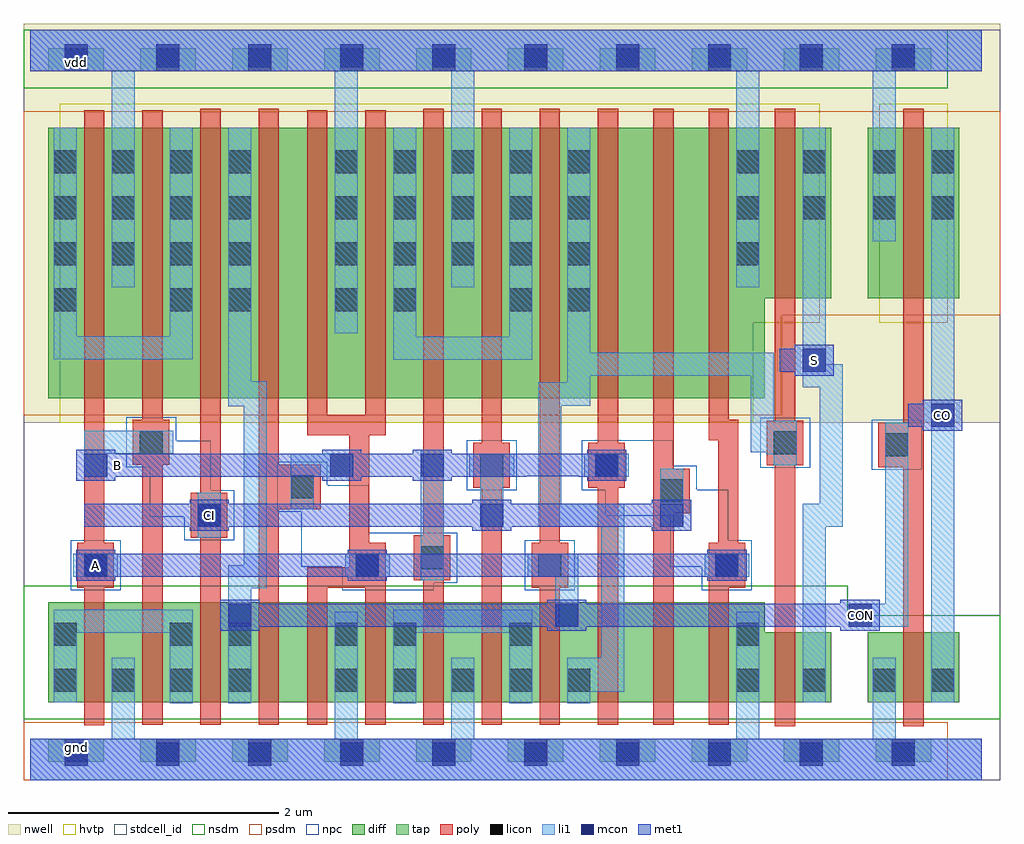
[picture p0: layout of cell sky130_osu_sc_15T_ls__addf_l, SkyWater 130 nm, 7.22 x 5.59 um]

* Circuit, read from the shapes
.subckt sky130_osu_sc_15T_ls__addf_l A B CI CO CON S gnd vdd
XM1 gnd A n1 gnd sky130_fd_pr__nfet_01v8 w=0.74 l=0.15
XM2 n1 B gnd gnd sky130_fd_pr__nfet_01v8 w=0.74 l=0.15
XM3 CON CI n1 gnd sky130_fd_pr__nfet_01v8 w=0.74 l=0.15
XM4 n2 B CON gnd sky130_fd_pr__nfet_01v8 w=0.74 l=0.15
XM5 gnd A n2 gnd sky130_fd_pr__nfet_01v8 w=0.74 l=0.15
XM6 n3 A gnd gnd sky130_fd_pr__nfet_01v8 w=0.74 l=0.15
XM7 gnd B n3 gnd sky130_fd_pr__nfet_01v8 w=0.74 l=0.15
XM8 n3 CI gnd gnd sky130_fd_pr__nfet_01v8 w=0.74 l=0.15
XM9 n4 CON n3 gnd sky130_fd_pr__nfet_01v8 w=0.74 l=0.15
XM10 n5 B n4 gnd sky130_fd_pr__nfet_01v8 w=0.74 l=0.15
XM11 n6 CI n5 gnd sky130_fd_pr__nfet_01v8 w=0.74 l=0.15
XM12 gnd A n6 gnd sky130_fd_pr__nfet_01v8 w=0.74 l=0.15
XM13 S n4 gnd gnd sky130_fd_pr__nfet_01v8 w=0.52 l=0.15
XM14 CO CON gnd gnd sky130_fd_pr__nfet_01v8 w=0.52 l=0.15
XM15 vdd A n7 vdd sky130_fd_pr__pfet_01v8_hvt w=2 l=0.15
XM16 n7 B vdd vdd sky130_fd_pr__pfet_01v8_hvt w=2 l=0.15
XM17 CON CI n7 vdd sky130_fd_pr__pfet_01v8_hvt w=2 l=0.15
XM18 n8 B CON vdd sky130_fd_pr__pfet_01v8_hvt w=2 l=0.15
XM19 vdd A n8 vdd sky130_fd_pr__pfet_01v8_hvt w=2 l=0.15
XM20 n9 A vdd vdd sky130_fd_pr__pfet_01v8_hvt w=2 l=0.15
XM21 vdd B n9 vdd sky130_fd_pr__pfet_01v8_hvt w=2 l=0.15
XM22 n9 CI vdd vdd sky130_fd_pr__pfet_01v8_hvt w=2 l=0.15
XM23 n4 CON n9 vdd sky130_fd_pr__pfet_01v8_hvt w=2 l=0.15
XM24 n10 B n4 vdd sky130_fd_pr__pfet_01v8_hvt w=2 l=0.15
XM25 n11 CI n10 vdd sky130_fd_pr__pfet_01v8_hvt w=2 l=0.15
XM26 vdd A n11 vdd sky130_fd_pr__pfet_01v8_hvt w=2 l=0.15
XM27 S n4 vdd vdd sky130_fd_pr__pfet_01v8_hvt w=1.26 l=0.15
XM28 CO CON vdd vdd sky130_fd_pr__pfet_01v8_hvt w=1.26 l=0.15
.ends

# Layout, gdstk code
import gdstk
lib = gdstk.Library(unit=1e-6, precision=1e-09)
def R(c, l, rs):  # rectangles x0, y0, x1, y1
    for r in rs: c.add(gdstk.rectangle(r[:2], r[2:], *l))
def A(c, l, x, y, w, h, nx, ny, dx, dy):  # array of equal rectangles
    R(c, l, [(x+i*dx, y+j*dy, x+i*dx+w, y+j*dy+h) for i in range(nx) for j in range(ny)])
nwell = (64, 20)
diff = (65, 20)
tap = (65, 44)
poly = (66, 20)
licon = (66, 44)
li1 = (67, 20)
mcon = (67, 44)
met1 = (68, 20)
hvtp = (78, 44)
stdcell_id = (81, 4)
nsdm = (93, 44)
psdm = (94, 20)
npc = (95, 20)

sky130_osu_sc_15t_ls__ad = lib.new_cell('sky130_osu_sc_15T_ls__addf_l')
R(sky130_osu_sc_15t_ls__ad, nwell, [(-0.045,2.645,7.175,5.595)])
R(sky130_osu_sc_15t_ls__ad, diff, [(0.135,0.575,5.925,1.095), (6.195,0.575,6.875,1.095), (0.135,1.095,5.435,1.315), (0.135,2.825,5.435,3.565), (0.135,3.565,5.925,4.825), (6.195,3.565,6.875,4.825)])
A(sky130_osu_sc_15t_ls__ad, tap, 0.135, 0.135, 0.41, 0.17, 10, 2, 0.68, 5.11)
R(sky130_osu_sc_15t_ls__ad, poly, [(5.51,0.4,5.66,2.33), (6.46,0.4,6.61,2.315), (0.4,0.405,0.55,1.425), (0.83,0.41,0.98,2.335), (1.26,0.41,1.41,1.795), (1.69,0.41,1.84,2.005), (2.05,0.41,2.2,1.425), (2.48,0.41,2.63,1.425), (2.91,0.41,3.06,1.48), (3.34,0.41,3.49,2.165), (3.77,0.41,3.92,1.425), (4.2,0.41,4.35,2.165), (4.61,0.41,4.76,1.975), (5.02,0.41,5.17,1.425), (0.35,1.425,0.62,1.755), (2.05,1.425,2.63,1.575), (3.71,1.425,3.98,1.755), (5.02,1.425,5.29,1.755), (2.84,1.48,3.11,1.81), (2.36,1.575,2.63,1.755), (0.4,1.755,0.55,4.955), (2.36,1.755,2.51,2.55), (3.77,1.755,3.92,4.965), (5.09,1.755,5.24,2.515), (1.19,1.795,1.46,2.125), (2.91,1.81,3.06,4.965), (4.61,1.975,4.88,2.305), (1.69,2.005,2.15,2.335), (1.26,2.125,1.41,4.965), (3.28,2.165,3.55,2.495), (4.13,2.165,4.4,2.495), (4.61,2.305,4.76,4.965), (6.275,2.315,6.61,2.645), (5.45,2.33,5.72,2.66), (0.76,2.335,1.03,2.665), (1.69,2.335,1.84,4.965), (3.34,2.495,3.49,4.965), (4.2,2.495,4.35,4.965), (5.02,2.515,5.24,2.665), (2.05,2.55,2.63,2.7), (6.46,2.645,6.61,4.965), (5.51,2.66,5.66,4.965), (0.83,2.665,0.98,4.955), (5.02,2.665,5.17,4.965), (2.05,2.7,2.2,4.955), (2.48,2.7,2.63,4.955)])
A(sky130_osu_sc_15t_ls__ad, licon, 0.255, 0.135, 0.17, 0.17, 10, 2, 0.68, 5.11)
A(sky130_osu_sc_15t_ls__ad, licon, 0.175, 0.655, 0.17, 0.17, 4, 2, 0.43, 3.155)
A(sky130_osu_sc_15t_ls__ad, licon, 2.255, 0.655, 0.17, 0.17, 5, 2, 0.43, 3.155)
A(sky130_osu_sc_15t_ls__ad, licon, 5.225, 3.81, 0.17, 0.17, 1, 3, 0, 0.34)
A(sky130_osu_sc_15t_ls__ad, licon, 0.175, 4.15, 0.17, 0.17, 4, 2, 0.43, 0.34)
A(sky130_osu_sc_15t_ls__ad, licon, 2.255, 4.15, 0.17, 0.17, 5, 2, 0.43, 0.34)
R(sky130_osu_sc_15t_ls__ad, licon, [(5.225,0.655,5.395,0.825), (5.715,0.655,5.885,0.825), (6.235,0.655,6.405,0.825), (6.665,0.655,6.835,0.825), (0.175,0.995,0.345,1.165), (1.035,0.995,1.205,1.165), (1.465,0.995,1.635,1.165), (2.255,0.995,2.425,1.165), (2.685,0.995,2.855,1.165), (3.545,0.995,3.715,1.165), (5.225,0.995,5.395,1.165), (0.4,1.505,0.57,1.675), (2.41,1.505,2.58,1.675), (3.76,1.505,3.93,1.675), (5.07,1.505,5.24,1.675), (2.89,1.56,3.06,1.73), (1.24,1.875,1.41,2.045), (4.66,2.055,4.83,2.225), (1.93,2.085,2.1,2.255), (3.33,2.245,3.5,2.415), (4.18,2.245,4.35,2.415), (6.325,2.395,6.495,2.565), (5.5,2.41,5.67,2.58), (0.81,2.415,0.98,2.585), (0.175,3.47,0.345,3.64), (1.035,3.47,1.205,3.64), (1.465,3.47,1.635,3.64), (2.255,3.47,2.425,3.64), (2.685,3.47,2.855,3.64), (3.545,3.47,3.715,3.64), (3.975,3.47,4.145,3.64), (5.715,4.15,5.885,4.32), (6.235,4.15,6.405,4.32), (6.665,4.15,6.835,4.32), (5.715,4.49,5.885,4.66), (6.235,4.49,6.405,4.66), (6.665,4.49,6.835,4.66)])
R(sky130_osu_sc_15t_ls__ad, li1, [(0,0,7.04,0.305), (0.605,0.305,0.775,0.905), (2.255,0.305,2.425,1.245), (3.115,0.305,3.285,0.905), (5.225,0.305,5.395,1.245), (6.235,0.305,6.405,0.905), (1.035,0.57,1.205,1.09), (1.465,0.57,1.635,1.42), (2.685,0.57,2.855,1.09), (3.545,0.57,3.715,1.09), (3.975,0.57,4.145,0.655), (0.175,0.575,0.345,1.09), (5.715,0.575,5.885,1.875), (6.665,0.575,6.835,4.825), (3.975,0.655,4.395,0.905), (4.225,0.905,4.395,1.875), (0.175,1.09,1.205,1.26), (2.685,1.09,3.715,1.26), (3.885,1.135,4.055,1.505), (6.055,1.135,6.495,1.305), (6.325,1.305,6.495,2.645), (1.465,1.42,1.75,1.59), (2.89,1.48,3.06,2.445), (0.32,1.505,0.65,1.675), (2.33,1.505,2.66,1.675), (3.68,1.505,4.055,1.675), (4.99,1.505,5.32,1.675), (1.58,1.59,1.75,2.765), (1.24,1.795,1.41,2.125), (3.33,1.875,3.5,2.245), (3.76,1.875,4.395,2.045), (4.66,1.875,4.83,2.305), (5.715,1.875,6.01,2.045), (1.93,2.005,2.1,2.245), (3.76,2.045,3.93,2.77), (5.84,2.045,6.01,2.905), (0.4,2.245,0.57,2.415), (1.93,2.245,2.39,2.415), (3.25,2.245,3.58,2.415), (4.1,2.245,4.43,2.415), (5.5,2.33,5.67,2.41), (5.445,2.41,5.67,2.425), (0.4,2.415,1.06,2.585), (5.33,2.425,5.67,2.66), (5.33,2.66,5.5,2.99), (1.465,2.765,1.75,2.95), (3.76,2.77,4.145,2.945), (5.715,2.905,6.01,3.075), (3.975,2.945,4.145,2.99), (1.465,2.95,1.635,4.825), (3.975,2.99,5.5,3.16), (5.715,3.075,5.885,4.825), (2.685,3.11,3.715,3.28), (0.175,3.115,1.205,3.285), (3.975,3.16,4.145,4.825), (2.685,3.28,2.855,4.825), (3.545,3.28,3.715,4.825), (0.175,3.285,0.345,4.825), (1.035,3.285,1.205,4.825), (2.255,3.305,2.425,5.245), (0.605,3.645,0.775,5.245), (3.115,3.645,3.285,5.245), (5.225,3.645,5.395,5.245), (6.235,3.985,6.405,5.245), (0,5.245,7.04,5.55)])
A(sky130_osu_sc_15t_ls__ad, mcon, 0.255, 0.105, 0.17, 0.17, 10, 2, 0.68, 5.17)
R(sky130_osu_sc_15t_ls__ad, mcon, [(1.465,1.135,1.635,1.305), (3.885,1.135,4.055,1.305), (6.055,1.135,6.225,1.305), (0.4,1.505,0.57,1.675), (2.41,1.505,2.58,1.675), (5.07,1.505,5.24,1.675), (1.24,1.875,1.41,2.045), (3.33,1.875,3.5,2.045), (4.66,1.875,4.83,2.045), (0.4,2.245,0.57,2.415), (2.22,2.245,2.39,2.415), (2.89,2.245,3.06,2.415), (4.18,2.245,4.35,2.415), (6.665,2.615,6.835,2.785), (5.715,3.02,5.885,3.19)])
R(sky130_osu_sc_15t_ls__ad, met1, [(0,0,7.04,0.305), (1.405,1.105,1.695,1.135), (3.825,1.105,4.115,1.135), (5.995,1.105,6.285,1.135), (1.405,1.135,6.285,1.305), (1.405,1.305,1.695,1.335), (3.825,1.305,4.115,1.335), (5.995,1.305,6.285,1.335), (0.34,1.475,0.63,1.505), (2.35,1.475,2.64,1.505), (5.01,1.475,5.3,1.505), (0.34,1.505,5.3,1.675), (0.34,1.675,0.63,1.705), (2.35,1.675,2.64,1.705), (5.01,1.675,5.3,1.705), (1.18,1.845,1.47,1.875), (3.27,1.845,3.56,1.875), (4.6,1.845,4.89,1.875), (0.4,1.875,4.89,2.045), (1.18,2.045,1.47,2.075), (3.27,2.045,3.56,2.075), (4.6,2.045,4.89,2.075), (0.34,2.215,0.63,2.245), (2.16,2.215,2.45,2.245), (2.83,2.215,3.12,2.245), (4.12,2.215,4.41,2.245), (0.34,2.245,3.67,2.25), (4.06,2.245,4.41,2.25), (0.34,2.25,4.41,2.415), (0.34,2.415,0.63,2.445), (2.16,2.415,2.45,2.445), (2.83,2.415,3.12,2.445), (4.12,2.415,4.41,2.445), (6.605,2.585,6.895,2.615), (6.495,2.615,6.895,2.785), (6.605,2.785,6.895,2.815), (5.655,2.99,5.945,3.02), (5.545,3.02,5.945,3.19), (5.655,3.19,5.945,3.22), (0,5.245,7.04,5.55)])
R(sky130_osu_sc_15t_ls__ad, hvtp, [(0.22,2.645,5.35,3.385), (0.22,3.385,5.84,5.005), (6.28,3.385,6.79,5.005)])
R(sky130_osu_sc_15t_ls__ad, stdcell_id, [(-0.045,0,7.175,5.55)])
R(sky130_osu_sc_15t_ls__ad, nsdm, [(-0.045,0.45,7.175,1.22), (-0.045,1.22,6.05,1.44), (-0.045,5.12,6.79,5.55)])
R(sky130_osu_sc_15t_ls__ad, psdm, [(-0.045,0,6.79,0.43), (-0.045,2.7,5.56,3.44), (-0.045,3.44,7.175,4.95)])
R(sky130_osu_sc_15t_ls__ad, npc, [(0.3,1.405,0.67,1.775), (2.31,1.405,2.985,1.46), (3.66,1.405,4.03,1.775), (4.97,1.405,5.34,1.58), (2.31,1.46,3.16,1.58), (2.005,1.58,3.16,1.83), (4.735,1.58,5.34,1.775), (1.14,1.775,1.51,1.95), (4.735,1.775,5.165,1.955), (2.005,1.83,2.505,1.985), (0.885,1.95,1.51,2.145), (4.255,1.955,5.165,2.145), (1.83,1.985,2.505,2.18), (0.885,2.145,1.335,2.315), (3.23,2.145,3.6,2.515), (4.08,2.145,5.165,2.15), (4.08,2.15,4.93,2.325), (1.83,2.18,2.2,2.355), (6.225,2.295,6.595,2.665), (5.4,2.31,5.77,2.68), (0.71,2.315,1.335,2.51), (4.08,2.325,4.755,2.515), (0.71,2.51,1.08,2.685)])
sky130_osu_sc_15t_ls__ad.add(gdstk.Label('gnd', (0.34,0.24), layer=68, texttype=16))
sky130_osu_sc_15t_ls__ad.add(gdstk.Label('vdd', (0.34,5.31), layer=68, texttype=16))
sky130_osu_sc_15t_ls__ad.add(gdstk.Label('A', (0.485,1.59), layer=68, texttype=5))
sky130_osu_sc_15t_ls__ad.add(gdstk.Label('CI', (1.325,1.96), layer=68, texttype=5))
sky130_osu_sc_15t_ls__ad.add(gdstk.Label('B', (0.645,2.33), layer=68, texttype=5))
sky130_osu_sc_15t_ls__ad.add(gdstk.Label('CO', (6.75,2.7), layer=68, texttype=5))
sky130_osu_sc_15t_ls__ad.add(gdstk.Label('S', (5.8,3.105), layer=68, texttype=5))
sky130_osu_sc_15t_ls__ad.add(gdstk.Label('CON', (6.14,1.22), layer=68, texttype=5))

lib.write_gds('sky130_osu_sc_15T_ls__addf_l.gds')
